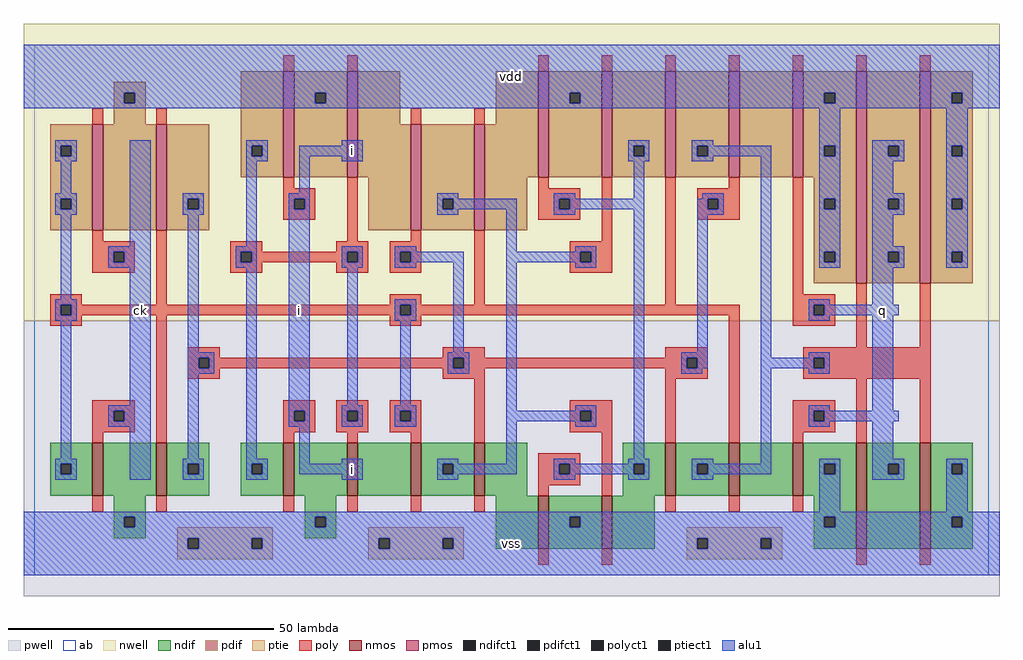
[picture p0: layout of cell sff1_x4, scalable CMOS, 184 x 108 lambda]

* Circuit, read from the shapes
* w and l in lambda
.subckt sff1_x4 ck i q vdd vss
M1 vss ck n1 vss nfet w=10 l=2
M2 n2 n1 vss vss nfet w=10 l=2
M3 vss i n3 vss nfet w=10 l=2
M4 n4 n3 vss vss nfet w=10 l=2
M5 n5 n1 n4 vss nfet w=10 l=2
M6 n6 n2 n5 vss nfet w=10 l=2
M7 vss n7 n6 vss nfet w=10 l=2
M8 n7 n5 vss vss nfet w=10 l=2
M9 n8 n2 n7 vss nfet w=10 l=2
M10 n9 n1 n8 vss nfet w=10 l=2
M11 vss q n9 vss nfet w=10 l=2
M12 q n8 vss vss nfet w=20 l=2 m=2
M13 vdd ck n1 n10 pfet w=20 l=2
M14 n2 n1 vdd n10 pfet w=20 l=2
M15 vdd i n3 n10 pfet w=20 l=2
M16 n11 n3 vdd n10 pfet w=20 l=2
M17 n5 n2 n11 n10 pfet w=20 l=2
M18 n12 n1 n5 n10 pfet w=20 l=2
M19 vdd n7 n12 n10 pfet w=20 l=2
M20 n7 n5 vdd n10 pfet w=20 l=2
M21 n8 n1 n7 n10 pfet w=20 l=2
M22 n13 n2 n8 n10 pfet w=20 l=2
M23 vdd q n13 n10 pfet w=20 l=2
M24 q n8 vdd n10 pfet w=40 l=2 m=2
.ends

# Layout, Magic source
magic
tech scmos
<< ab >>
rect 0 0 180 100
<< nwell >>
rect -2 48 182 104
<< pwell >>
rect -2 -4 182 48
<< poly >>
rect 47 95 49 98
rect 59 95 61 98
rect 95 95 97 98
rect 107 95 109 98
rect 119 95 121 98
rect 131 95 133 98
rect 143 95 145 98
rect 155 95 157 98
rect 167 95 169 98
rect 11 85 13 88
rect 23 85 25 88
rect 71 85 73 88
rect 83 85 85 88
rect 47 73 49 75
rect 47 71 53 73
rect 47 69 49 71
rect 51 69 53 71
rect 47 67 53 69
rect 11 63 13 65
rect 11 61 19 63
rect 11 59 15 61
rect 17 59 19 61
rect 11 57 19 59
rect 3 51 9 53
rect 23 51 25 65
rect 59 63 61 75
rect 95 73 97 75
rect 95 71 103 73
rect 95 69 99 71
rect 101 69 103 71
rect 95 67 103 69
rect 71 63 73 65
rect 37 61 43 63
rect 57 61 63 63
rect 37 59 39 61
rect 41 59 59 61
rect 61 59 63 61
rect 37 57 43 59
rect 57 57 63 59
rect 67 61 73 63
rect 67 59 69 61
rect 71 59 73 61
rect 67 57 73 59
rect 67 51 73 53
rect 83 51 85 65
rect 107 63 109 75
rect 101 61 109 63
rect 101 59 103 61
rect 105 59 109 61
rect 101 57 109 59
rect 119 51 121 75
rect 131 73 133 75
rect 125 71 133 73
rect 125 69 127 71
rect 129 69 133 71
rect 125 67 133 69
rect 143 53 145 75
rect 143 51 151 53
rect 3 49 5 51
rect 7 49 69 51
rect 71 49 133 51
rect 3 47 9 49
rect 11 31 19 33
rect 11 29 15 31
rect 17 29 19 31
rect 11 27 19 29
rect 11 25 13 27
rect 23 25 25 49
rect 67 47 73 49
rect 29 41 35 43
rect 77 41 85 43
rect 119 41 127 43
rect 29 39 31 41
rect 33 39 79 41
rect 81 39 123 41
rect 125 39 127 41
rect 29 37 35 39
rect 77 37 85 39
rect 47 31 53 33
rect 47 29 49 31
rect 51 29 53 31
rect 47 27 53 29
rect 57 31 63 33
rect 57 29 59 31
rect 61 29 63 31
rect 57 27 63 29
rect 67 31 73 33
rect 67 29 69 31
rect 71 29 73 31
rect 67 27 73 29
rect 47 25 49 27
rect 59 25 61 27
rect 71 25 73 27
rect 83 25 85 37
rect 119 37 127 39
rect 101 31 109 33
rect 101 29 103 31
rect 105 29 109 31
rect 101 27 109 29
rect 95 21 103 23
rect 95 19 99 21
rect 101 19 103 21
rect 95 17 103 19
rect 95 15 97 17
rect 107 15 109 27
rect 119 25 121 37
rect 131 25 133 49
rect 143 49 147 51
rect 149 49 151 51
rect 143 47 151 49
rect 155 43 157 55
rect 167 43 169 55
rect 145 41 169 43
rect 145 39 147 41
rect 149 39 169 41
rect 145 37 169 39
rect 143 31 151 33
rect 143 29 147 31
rect 149 29 151 31
rect 143 27 151 29
rect 143 25 145 27
rect 155 25 157 37
rect 167 25 169 37
rect 11 12 13 15
rect 23 12 25 15
rect 47 12 49 15
rect 59 12 61 15
rect 71 12 73 15
rect 83 12 85 15
rect 119 12 121 15
rect 131 12 133 15
rect 143 12 145 15
rect 95 2 97 5
rect 107 2 109 5
rect 155 2 157 5
rect 167 2 169 5
<< ndif >>
rect 3 21 11 25
rect 3 19 5 21
rect 7 19 11 21
rect 3 15 11 19
rect 13 15 23 25
rect 25 21 33 25
rect 25 19 29 21
rect 31 19 33 21
rect 25 15 33 19
rect 39 21 47 25
rect 39 19 41 21
rect 43 19 47 21
rect 39 15 47 19
rect 49 15 59 25
rect 61 15 71 25
rect 73 21 83 25
rect 73 19 77 21
rect 79 19 83 21
rect 73 15 83 19
rect 85 15 93 25
rect 111 21 119 25
rect 111 19 113 21
rect 115 19 119 21
rect 111 15 119 19
rect 121 21 131 25
rect 121 19 125 21
rect 127 19 131 21
rect 121 15 131 19
rect 133 15 143 25
rect 145 21 155 25
rect 145 19 149 21
rect 151 19 155 21
rect 145 15 155 19
rect 15 11 21 15
rect 15 9 17 11
rect 19 9 21 11
rect 51 11 57 15
rect 51 9 53 11
rect 55 9 57 11
rect 15 7 21 9
rect 51 7 57 9
rect 87 5 95 15
rect 97 11 107 15
rect 97 9 101 11
rect 103 9 107 11
rect 97 5 107 9
rect 109 5 117 15
rect 147 11 155 15
rect 147 9 149 11
rect 151 9 155 11
rect 147 5 155 9
rect 157 21 167 25
rect 157 19 161 21
rect 163 19 167 21
rect 157 5 167 19
rect 169 21 177 25
rect 169 19 173 21
rect 175 19 177 21
rect 169 11 177 19
rect 169 9 173 11
rect 175 9 177 11
rect 169 5 177 9
<< pdif >>
rect 15 91 21 93
rect 15 89 17 91
rect 19 89 21 91
rect 15 85 21 89
rect 3 81 11 85
rect 3 79 5 81
rect 7 79 11 81
rect 3 71 11 79
rect 3 69 5 71
rect 7 69 11 71
rect 3 65 11 69
rect 13 65 23 85
rect 25 71 33 85
rect 39 81 47 95
rect 39 79 41 81
rect 43 79 47 81
rect 39 75 47 79
rect 49 91 59 95
rect 49 89 53 91
rect 55 89 59 91
rect 49 75 59 89
rect 61 85 69 95
rect 87 85 95 95
rect 61 75 71 85
rect 25 69 29 71
rect 31 69 33 71
rect 25 65 33 69
rect 63 65 71 75
rect 73 71 83 85
rect 73 69 77 71
rect 79 69 83 71
rect 73 65 83 69
rect 85 75 95 85
rect 97 91 107 95
rect 97 89 101 91
rect 103 89 107 91
rect 97 75 107 89
rect 109 81 119 95
rect 109 79 113 81
rect 115 79 119 81
rect 109 75 119 79
rect 121 81 131 95
rect 121 79 125 81
rect 127 79 131 81
rect 121 75 131 79
rect 133 75 143 95
rect 145 91 155 95
rect 145 89 149 91
rect 151 89 155 91
rect 145 81 155 89
rect 145 79 149 81
rect 151 79 155 81
rect 145 75 155 79
rect 85 65 93 75
rect 147 71 155 75
rect 147 69 149 71
rect 151 69 155 71
rect 147 61 155 69
rect 147 59 149 61
rect 151 59 155 61
rect 147 55 155 59
rect 157 81 167 95
rect 157 79 161 81
rect 163 79 167 81
rect 157 71 167 79
rect 157 69 161 71
rect 163 69 167 71
rect 157 61 167 69
rect 157 59 161 61
rect 163 59 167 61
rect 157 55 167 59
rect 169 91 177 95
rect 169 89 173 91
rect 175 89 177 91
rect 169 81 177 89
rect 169 79 173 81
rect 175 79 177 81
rect 169 71 177 79
rect 169 69 173 71
rect 175 69 177 71
rect 169 61 177 69
rect 169 59 173 61
rect 175 59 177 61
rect 169 55 177 59
<< alu1 >>
rect -2 91 182 100
rect -2 89 17 91
rect 19 89 53 91
rect 55 89 101 91
rect 103 89 149 91
rect 151 89 173 91
rect 175 89 182 91
rect -2 88 182 89
rect 4 81 8 82
rect 4 79 5 81
rect 7 79 8 81
rect 4 78 8 79
rect 5 72 7 78
rect 4 71 8 72
rect 4 69 5 71
rect 7 69 8 71
rect 4 68 8 69
rect 5 52 7 68
rect 18 62 22 82
rect 40 81 44 82
rect 58 81 62 82
rect 40 79 41 81
rect 43 79 44 81
rect 40 78 44 79
rect 50 79 62 81
rect 28 71 32 72
rect 28 69 29 71
rect 31 69 32 71
rect 28 68 32 69
rect 14 61 22 62
rect 14 59 15 61
rect 17 59 22 61
rect 14 58 22 59
rect 4 51 8 52
rect 4 49 5 51
rect 7 49 8 51
rect 4 48 8 49
rect 5 22 7 48
rect 18 32 22 58
rect 14 31 22 32
rect 14 29 15 31
rect 17 29 22 31
rect 14 28 22 29
rect 4 21 8 22
rect 4 19 5 21
rect 7 19 8 21
rect 4 18 8 19
rect 18 18 22 28
rect 29 42 31 68
rect 40 62 42 78
rect 50 72 52 79
rect 58 78 62 79
rect 112 81 116 82
rect 112 79 113 81
rect 115 79 116 81
rect 112 78 116 79
rect 124 81 128 82
rect 148 81 152 88
rect 124 79 125 81
rect 127 79 139 81
rect 124 78 128 79
rect 38 61 42 62
rect 38 59 39 61
rect 41 59 42 61
rect 38 58 42 59
rect 29 41 34 42
rect 29 39 31 41
rect 33 39 34 41
rect 29 38 34 39
rect 29 22 31 38
rect 40 22 42 58
rect 48 71 52 72
rect 48 69 49 71
rect 51 69 52 71
rect 48 31 52 69
rect 76 71 80 72
rect 98 71 102 72
rect 113 71 115 78
rect 126 71 130 72
rect 76 69 77 71
rect 79 69 91 71
rect 76 68 80 69
rect 58 61 62 62
rect 58 59 59 61
rect 61 59 62 61
rect 58 58 62 59
rect 68 61 72 62
rect 89 61 91 69
rect 98 69 99 71
rect 101 69 115 71
rect 98 68 102 69
rect 102 61 106 62
rect 68 59 69 61
rect 71 59 81 61
rect 68 58 72 59
rect 59 32 61 58
rect 68 51 72 52
rect 68 49 69 51
rect 71 49 72 51
rect 68 48 72 49
rect 69 32 71 48
rect 79 42 81 59
rect 89 59 103 61
rect 105 59 106 61
rect 78 41 82 42
rect 78 39 79 41
rect 81 39 82 41
rect 78 38 82 39
rect 48 29 49 31
rect 51 29 52 31
rect 48 28 52 29
rect 58 31 62 32
rect 58 29 59 31
rect 61 29 62 31
rect 58 28 62 29
rect 68 31 72 32
rect 68 29 69 31
rect 71 29 72 31
rect 68 28 72 29
rect 89 31 91 59
rect 102 58 106 59
rect 102 31 106 32
rect 89 29 103 31
rect 105 29 106 31
rect 28 21 32 22
rect 28 19 29 21
rect 31 19 32 21
rect 28 18 32 19
rect 40 21 44 22
rect 40 19 41 21
rect 43 19 44 21
rect 50 21 52 28
rect 58 21 62 22
rect 50 19 62 21
rect 40 18 44 19
rect 58 18 62 19
rect 76 21 80 22
rect 89 21 91 29
rect 102 28 106 29
rect 113 22 115 69
rect 125 69 127 71
rect 129 69 130 71
rect 125 68 130 69
rect 125 42 127 68
rect 122 41 127 42
rect 122 39 123 41
rect 125 39 127 41
rect 137 41 139 79
rect 148 79 149 81
rect 151 79 152 81
rect 148 71 152 79
rect 148 69 149 71
rect 151 69 152 71
rect 148 61 152 69
rect 148 59 149 61
rect 151 59 152 61
rect 148 58 152 59
rect 158 81 164 82
rect 158 79 161 81
rect 163 79 164 81
rect 158 78 164 79
rect 172 81 176 88
rect 172 79 173 81
rect 175 79 176 81
rect 158 72 162 78
rect 158 71 164 72
rect 158 69 161 71
rect 163 69 164 71
rect 158 68 164 69
rect 172 71 176 79
rect 172 69 173 71
rect 175 69 176 71
rect 158 62 162 68
rect 158 61 164 62
rect 158 59 161 61
rect 163 59 164 61
rect 158 58 164 59
rect 172 61 176 69
rect 172 59 173 61
rect 175 59 176 61
rect 172 58 176 59
rect 146 51 150 52
rect 158 51 162 58
rect 146 49 147 51
rect 149 49 163 51
rect 146 48 150 49
rect 146 41 150 42
rect 137 39 147 41
rect 149 39 150 41
rect 122 38 126 39
rect 76 19 77 21
rect 79 19 91 21
rect 98 21 102 22
rect 112 21 116 22
rect 98 19 99 21
rect 101 19 113 21
rect 115 19 116 21
rect 76 18 80 19
rect 98 18 102 19
rect 112 18 116 19
rect 124 21 128 22
rect 137 21 139 39
rect 146 38 150 39
rect 146 31 150 32
rect 158 31 162 49
rect 146 29 147 31
rect 149 29 163 31
rect 146 28 150 29
rect 158 22 162 29
rect 124 19 125 21
rect 127 19 139 21
rect 148 21 152 22
rect 148 19 149 21
rect 151 19 152 21
rect 124 18 128 19
rect 148 12 152 19
rect 158 21 164 22
rect 158 19 161 21
rect 163 19 164 21
rect 158 18 164 19
rect 172 21 176 22
rect 172 19 173 21
rect 175 19 176 21
rect 172 12 176 19
rect -2 11 182 12
rect -2 9 17 11
rect 19 9 53 11
rect 55 9 101 11
rect 103 9 149 11
rect 151 9 173 11
rect 175 9 182 11
rect -2 7 182 9
rect -2 5 29 7
rect 31 5 41 7
rect 43 5 65 7
rect 67 5 77 7
rect 79 5 125 7
rect 127 5 137 7
rect 139 5 182 7
rect -2 0 182 5
<< ptie >>
rect 27 7 45 9
rect 63 7 81 9
rect 27 5 29 7
rect 31 5 41 7
rect 43 5 45 7
rect 27 3 45 5
rect 63 5 65 7
rect 67 5 77 7
rect 79 5 81 7
rect 123 7 141 9
rect 123 5 125 7
rect 127 5 137 7
rect 139 5 141 7
rect 63 3 81 5
rect 123 3 141 5
<< nmos >>
rect 11 15 13 25
rect 23 15 25 25
rect 47 15 49 25
rect 59 15 61 25
rect 71 15 73 25
rect 83 15 85 25
rect 119 15 121 25
rect 131 15 133 25
rect 143 15 145 25
rect 95 5 97 15
rect 107 5 109 15
rect 155 5 157 25
rect 167 5 169 25
<< pmos >>
rect 11 65 13 85
rect 23 65 25 85
rect 47 75 49 95
rect 59 75 61 95
rect 71 65 73 85
rect 83 65 85 85
rect 95 75 97 95
rect 107 75 109 95
rect 119 75 121 95
rect 131 75 133 95
rect 143 75 145 95
rect 155 55 157 95
rect 167 55 169 95
<< polyct1 >>
rect 49 69 51 71
rect 15 59 17 61
rect 99 69 101 71
rect 39 59 41 61
rect 59 59 61 61
rect 69 59 71 61
rect 103 59 105 61
rect 127 69 129 71
rect 5 49 7 51
rect 69 49 71 51
rect 15 29 17 31
rect 31 39 33 41
rect 79 39 81 41
rect 123 39 125 41
rect 49 29 51 31
rect 59 29 61 31
rect 69 29 71 31
rect 103 29 105 31
rect 99 19 101 21
rect 147 49 149 51
rect 147 39 149 41
rect 147 29 149 31
<< ndifct1 >>
rect 5 19 7 21
rect 29 19 31 21
rect 41 19 43 21
rect 77 19 79 21
rect 113 19 115 21
rect 125 19 127 21
rect 149 19 151 21
rect 17 9 19 11
rect 53 9 55 11
rect 101 9 103 11
rect 149 9 151 11
rect 161 19 163 21
rect 173 19 175 21
rect 173 9 175 11
<< ptiect1 >>
rect 29 5 31 7
rect 41 5 43 7
rect 65 5 67 7
rect 77 5 79 7
rect 125 5 127 7
rect 137 5 139 7
<< pdifct1 >>
rect 17 89 19 91
rect 5 79 7 81
rect 5 69 7 71
rect 41 79 43 81
rect 53 89 55 91
rect 29 69 31 71
rect 77 69 79 71
rect 101 89 103 91
rect 113 79 115 81
rect 125 79 127 81
rect 149 89 151 91
rect 149 79 151 81
rect 149 69 151 71
rect 149 59 151 61
rect 161 79 163 81
rect 161 69 163 71
rect 161 59 163 61
rect 173 89 175 91
rect 173 79 175 81
rect 173 69 175 71
rect 173 59 175 61
<< labels >>
rlabel alu1 20 50 20 50 6 ck
rlabel alu1 60 20 60 20 6 i
rlabel alu1 50 50 50 50 6 i
rlabel alu1 60 80 60 80 6 i
rlabel alu1 90 6 90 6 6 vss
rlabel alu1 90 94 90 94 6 vdd
rlabel alu1 160 50 160 50 6 q
<< end >>
